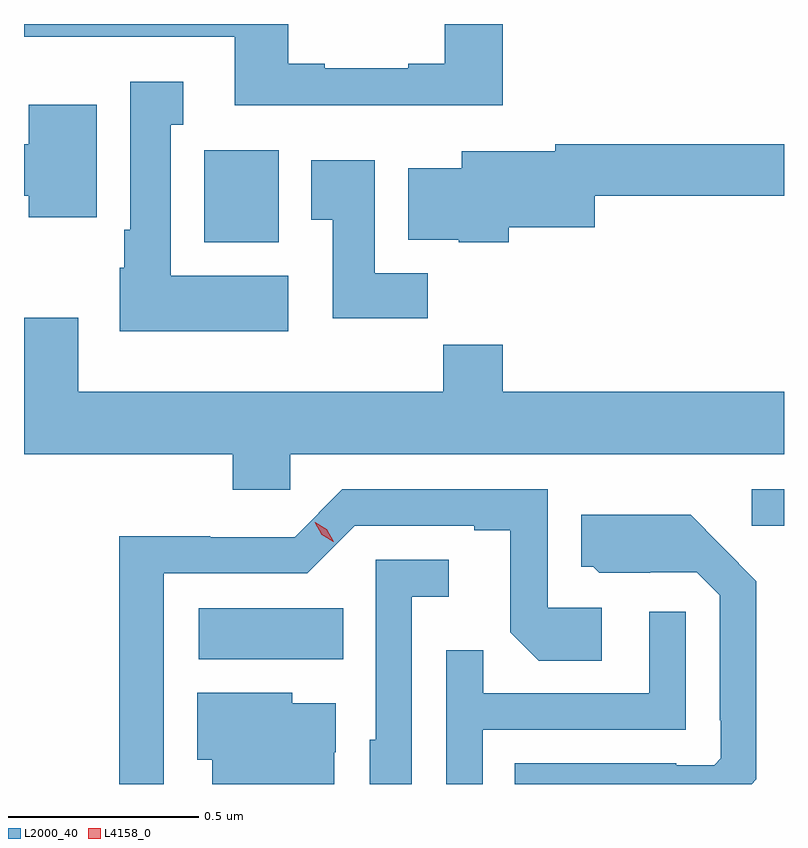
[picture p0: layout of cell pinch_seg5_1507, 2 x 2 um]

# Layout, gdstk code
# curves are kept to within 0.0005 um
import gdstk
lib = gdstk.Library(unit=1e-6, precision=1e-09)
def R(c, l, rs):  # rectangles x0, y0, x1, y1
    for r in rs: c.add(gdstk.rectangle(r[:2], r[2:], *l))
def P(c, l, *ps):  # polygons
    for p in ps: c.add(gdstk.Polygon(p, *l))
L2000_40 = (2000, 40)
L4158_0 = (4158, 0)

pinch_seg5_1507 = lib.new_cell('pinch_seg5_1507')
R(pinch_seg5_1507, L2000_40, [(114.954,888.188,115.334,888.322), (116.409,888.54,116.494,888.636), (114.968,889.286,115.165,889.528)])
P(pinch_seg5_1507, L2000_40, [(115.754,889.86),(115.601,889.86),(115.601,889.756),(115.505,889.756),(115.505,889.743),(115.285,889.743),(115.285,889.756),(115.189,889.756),(115.189,889.86),(114.494,889.86),(114.494,889.827),(115.049,889.827),(115.049,889.646),(115.754,889.646)],
  [(115.189,889.198),(114.88,889.198),(114.88,889.595),(114.913,889.595),(114.913,889.708),(114.773,889.708),(114.773,889.318),(114.758,889.318),(114.758,889.218),(114.746,889.218),(114.746,889.052),(115.189,889.052)],
  [(114.685,889.648),(114.506,889.648),(114.506,889.544),(114.494,889.544),(114.494,889.408),(114.506,889.408),(114.506,889.352),(114.685,889.352)],
  [(115.769,889.325),(115.996,889.325),(115.996,889.408),(116.494,889.408),(116.494,889.544),(115.892,889.544),(115.892,889.525),(115.646,889.525),(115.646,889.48),(115.505,889.48),(115.505,889.292),(115.638,889.292),(115.638,889.286),(115.769,889.286)],
  [(115.556,889.204),(115.417,889.204),(115.417,889.501),(115.25,889.501),(115.25,889.345),(115.307,889.345),(115.307,889.086),(115.556,889.086)],
  [(115.194,888.728),(116.494,888.728),(116.494,888.892),(115.754,888.892),(115.754,889.016),(115.597,889.016),(115.597,888.892),(114.637,888.892),(114.637,889.087),(114.494,889.087),(114.494,888.728),(115.043,888.728),(115.043,888.635),(115.194,888.635)],
  [(114.862,888.414),(115.239,888.414),(115.365,888.54),(115.679,888.54),(115.679,888.528),(115.773,888.528),(115.773,888.26),(115.849,888.184),(116.014,888.184),(116.014,888.324),(115.872,888.324),(115.872,888.636),(115.332,888.636),(115.206,888.51),(114.984,888.51),(114.984,888.512),(114.744,888.512),(114.744,887.86),(114.862,887.86)],
  [(116.421,887.872),(116.421,888.394),(116.249,888.568),(115.961,888.568),(115.961,888.432),(115.992,888.432),(116.008,888.416),(116.142,888.416),(116.142,888.417),(116.265,888.417),(116.325,888.357),(116.325,888.028),(116.328,888.028),(116.328,887.928),(116.31,887.91),(116.21,887.91),(116.21,887.914),(115.786,887.914),(115.786,887.86),(116.409,887.86)],
  [(115.515,888.353),(115.612,888.353),(115.612,888.45),(115.419,888.45),(115.419,887.976),(115.404,887.976),(115.404,887.86),(115.515,887.86)],
  [(115.701,888.003),(116.235,888.003),(116.235,888.313),(116.139,888.313),(116.139,888.099),(115.703,888.099),(115.703,888.212),(115.605,888.212),(115.605,887.86),(115.701,887.86)],
  [(115.311,887.944),(115.315,887.944),(115.315,888.073),(115.2,888.073),(115.2,888.1),(114.95,888.1),(114.95,887.924),(114.989,887.924),(114.989,887.86),(115.311,887.86)])
P(pinch_seg5_1507, L4158_0, [(115.308,888.497),(115.277,888.516),(115.259,888.549),(115.259,888.549),(115.26,888.549),(115.291,888.53),(115.309,888.498),(115.309,888.497)])

lib.write_gds('pinch_seg5_1507.gds')
